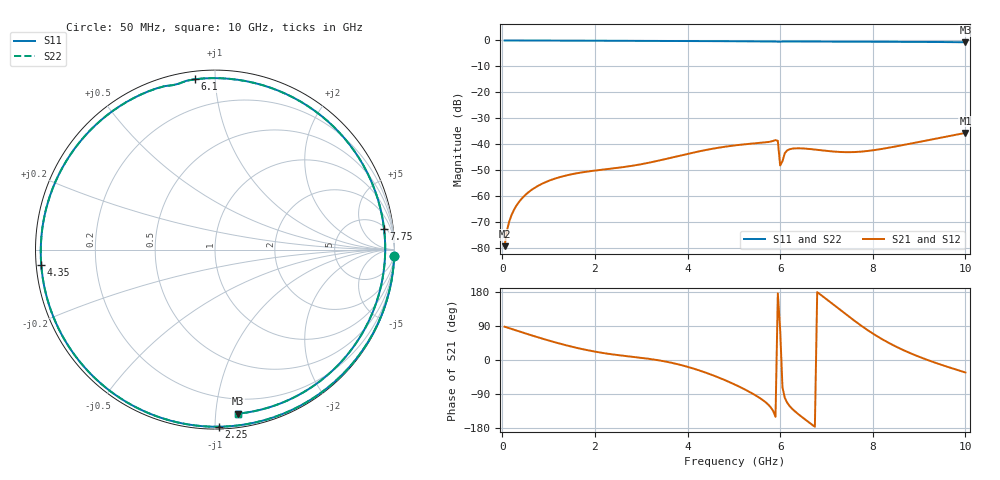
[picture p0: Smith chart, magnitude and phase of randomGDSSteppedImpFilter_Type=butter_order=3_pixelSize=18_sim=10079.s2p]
! freq	dB(S11)	phase(S11)	dB(S12)	phase(S12)
!  dB(S21)	phase(S21)	dB(S22)	phase(S22)
!S-par simulation data
#  GHz  S  DB  R 50
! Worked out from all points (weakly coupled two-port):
!   200 points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, 50 MHz to 10 GHz, reference 50 ohm
!   highest |S21| = -35.61 dB at 10 GHz (marker M1); lowest = -79.2 dB at 50 MHz (marker M2)
!   lowest |S11| = -0.7 dB at 10 GHz (marker M3), VSWR 24.91, Z = 4.65 - j57.3 ohm
!   |S11| at or under -10 dB: nowhere
!   |S22| runs from -0.7 to 0.0 dB; largest |S21 - S12| = 0
!   S11 on the Smith chart (normalised r, x): 50 MHz: 1, -56; 2.25 GHz: 0.01, -1.02; 4.35 GHz: 0.01, -0.04; 6.1 GHz: 0.04, +0.89; 7.75 GHz: 6, +14; 10 GHz: 0.09, -1.15
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0.05  -0.01 -2.0  -79.23 87.9  -79.23 87.9  -0.01 -2.0
0.1  -0.01 -4.0  -73.22 85.9  -73.22 85.9  -0.01 -4.0
0.2  -0.01 -8.0  -67.23 82.0  -67.23 82.0  -0.01 -8.0
0.5  -0.02 -20.0  -59.46 70.1  -59.46 70.1  -0.02 -20.0
1  -0.05 -39.8  -54.08 51.5  -54.08 51.5  -0.05 -39.8
1.75  -0.09 -69.2  -50.73 28.2  -50.73 28.2  -0.09 -69.1
2.25  -0.11 -88.7  -49.58 17.1  -49.58 17.1  -0.11 -88.6
2.8  -0.14 -110.3  -48.29 8.6  -48.29 8.6  -0.14 -110.2
3.4  -0.18 -134.3  -46.18 -1.3  -46.18 -1.3  -0.18 -134.3
4.35  -0.25 -175.0  -42.35 -31.5  -42.35 -31.5  -0.25 -174.9
5.05  -0.31 151.9  -40.36 -66.4  -40.36 -66.4  -0.31 152.0
5.55  -0.36 126.2  -39.50 -99.5  -39.50 -99.5  -0.36 126.3
5.95  -0.48 104.4  -38.68 175.7  -38.68 175.7  -0.48 104.5
6  -0.48 102.4  -48.15 80.1  -48.15 80.1  -0.48 102.5
6.1  -0.39 96.6  -43.41 -99.7  -43.41 -99.7  -0.39 96.7
6.25  -0.40 88.1  -41.70 -127.6  -41.70 -127.6  -0.40 88.2
6.7  -0.42 62.7  -41.92 -171.7  -41.92 -171.7  -0.42 62.8
7.25  -0.44 32.6  -42.91 136.8  -42.91 136.8  -0.44 32.6
7.75  -0.45 6.8  -42.82 90.6  -42.82 90.6  -0.45 6.9
8.35  -0.49 -21.1  -41.30 44.8  -41.30 44.8  -0.49 -21.0
9.15  -0.56 -53.1  -38.57 1.5  -38.57 1.5  -0.56 -53.1
10  -0.70 -82.0  -35.61 -32.8  -35.61 -32.8  -0.70 -82.0
